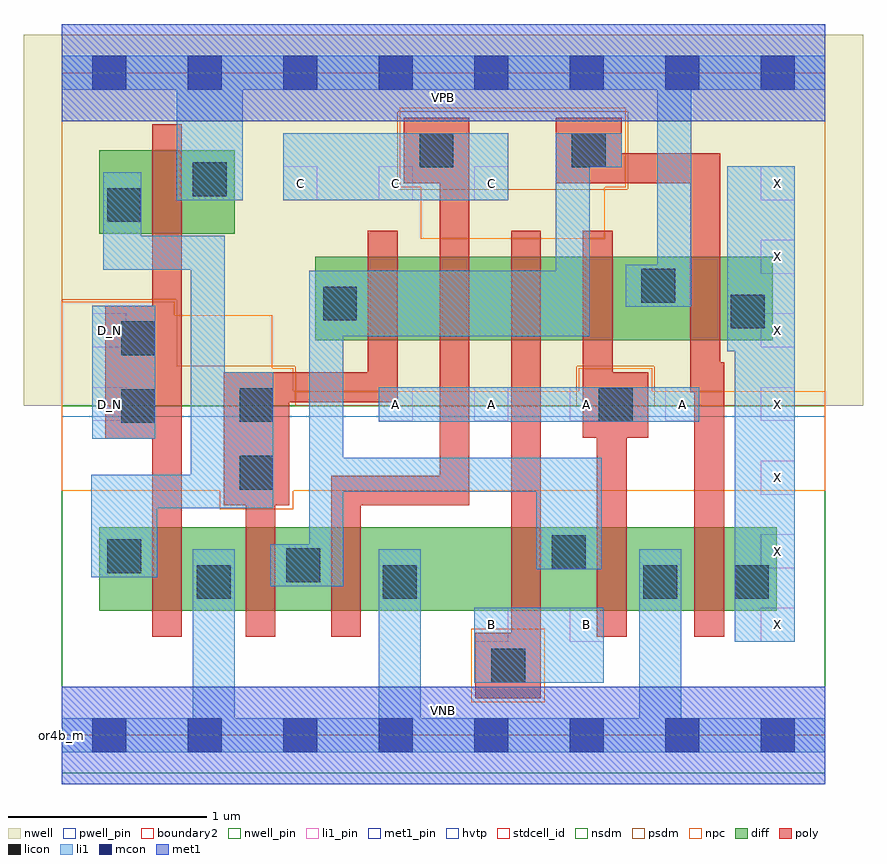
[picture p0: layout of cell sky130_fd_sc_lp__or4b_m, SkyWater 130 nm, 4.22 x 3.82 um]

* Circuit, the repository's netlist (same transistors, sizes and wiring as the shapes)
* Copyright 2020 The SkyWater PDK Authors
*
* Licensed under the Apache License, Version 2.0 (the "License");
* you may not use this file except in compliance with the License.
* You may obtain a copy of the License at
*
*     https://www.apache.org/licenses/LICENSE-2.0
*
* Unless required by applicable law or agreed to in writing, software
* distributed under the License is distributed on an "AS IS" BASIS,
* WITHOUT WARRANTIES OR CONDITIONS OF ANY KIND, either express or implied.
* See the License for the specific language governing permissions and
* limitations under the License.
*
* SPDX-License-Identifier: Apache-2.0

.SUBCKT sky130_fd_sc_lp__or4b_m A B C D_N VGND VNB VPB VPWR X
*.PININFO A:I B:I C:I D_N:I VGND:I VNB:I VPB:I VPWR:I X:O
MMP0 VPWR A sndPA VPB sky130_fd_pr__pfet_01v8_hvt m=1 w=0.42U l=0.15U mult=1 sa=0.265
+ sb=0.265 sd=0.28 area=0.063 perim=1.14
MMP1 sndPA B sndPB VPB sky130_fd_pr__pfet_01v8_hvt m=1 w=0.42U l=0.15U mult=1 sa=0.265
+ sb=0.265 sd=0.28 area=0.063 perim=1.14
MMP2 sndPB C sndPC VPB sky130_fd_pr__pfet_01v8_hvt m=1 w=0.42U l=0.15U mult=1 sa=0.265
+ sb=0.265 sd=0.28 area=0.063 perim=1.14
MMP3 sndPC D y VPB sky130_fd_pr__pfet_01v8_hvt m=1 w=0.42U l=0.15U mult=1 sa=0.265
+ sb=0.265 sd=0.28 area=0.063 perim=1.14
MMIP3 D D_N VPWR VPB sky130_fd_pr__pfet_01v8_hvt m=1 w=0.42U l=0.15U mult=1 sa=0.265
+ sb=0.265 sd=0.28 area=0.063 perim=1.14
MMIP4 X y VPWR VPB sky130_fd_pr__pfet_01v8_hvt m=1 w=0.42U l=0.15U mult=1 sa=0.265
+ sb=0.265 sd=0.28 area=0.063 perim=1.14
MMN0 y A VGND VNB sky130_fd_pr__nfet_01v8 m=1 w=0.42U l=0.15U mult=1 sa=0.265 sb=0.265
+ sd=0.28 area=0.063 perim=1.14
MMN1 y B VGND VNB sky130_fd_pr__nfet_01v8 m=1 w=0.42U l=0.15U mult=1 sa=0.265 sb=0.265
+ sd=0.28 area=0.063 perim=1.14
MMN2 y C VGND VNB sky130_fd_pr__nfet_01v8 m=1 w=0.42U l=0.15U mult=1 sa=0.265 sb=0.265
+ sd=0.28 area=0.063 perim=1.14
MMN3 y D VGND VNB sky130_fd_pr__nfet_01v8 m=1 w=0.42U l=0.15U mult=1 sa=0.265 sb=0.265
+ sd=0.28 area=0.063 perim=1.14
MMIN3 D D_N VGND VNB sky130_fd_pr__nfet_01v8 m=1 w=0.42U l=0.15U mult=1 sa=0.265
+ sb=0.265 sd=0.28 area=0.063 perim=1.14
MMIN4 X y VGND VNB sky130_fd_pr__nfet_01v8 m=1 w=0.42U l=0.15U mult=1 sa=0.265
+ sb=0.265 sd=0.28 area=0.063 perim=1.14
.ENDS sky130_fd_sc_lp__or4b_m

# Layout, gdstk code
import gdstk
lib = gdstk.Library(unit=1e-6, precision=1e-09)
def R(c, l, rs):  # rectangles x0, y0, x1, y1
    for r in rs: c.add(gdstk.rectangle(r[:2], r[2:], *l))
def A(c, l, x, y, w, h, nx, ny, dx, dy):  # array of equal rectangles
    R(c, l, [(x+i*dx, y+j*dy, x+i*dx+w, y+j*dy+h) for i in range(nx) for j in range(ny)])
def P(c, l, *ps):  # polygons
    for p in ps: c.add(gdstk.Polygon(p, *l))
nwell_pin = (64, 16)
nwell = (64, 20)
diff = (65, 20)
poly = (66, 20)
licon = (66, 44)
li1_pin = (67, 16)
li1 = (67, 20)
mcon = (67, 44)
met1_pin = (68, 16)
met1 = (68, 20)
hvtp = (78, 44)
stdcell_id = (81, 4)
nsdm = (93, 44)
psdm = (94, 20)
npc = (95, 20)
pwell_pin = (122, 16)
boundary2 = (236, 0)

sky130_fd_sc_lp__or4b_m = lib.new_cell('sky130_fd_sc_lp__or4b_m')
R(sky130_fd_sc_lp__or4b_m, nwell_pin, [(0,3.085,3.84,3.33)])
R(sky130_fd_sc_lp__or4b_m, nwell, [(-0.19,1.655,4.03,3.52)])
R(sky130_fd_sc_lp__or4b_m, diff, [(0.19,0.625,3.595,1.045), (1.275,1.985,3.575,2.405), (0.19,2.52,0.87,2.94)])
P(sky130_fd_sc_lp__or4b_m, poly, [(0.605,3.07),(0.455,3.07),(0.455,2.16),(0.22,2.16),(0.22,1.49),(0.455,1.49),(0.455,0.495),(0.605,0.495)],
  [(1.69,2.535),(1.54,2.535),(1.54,1.825),(0.815,1.825),(0.815,1.155),(0.925,1.155),(0.925,0.495),(1.075,0.495),(1.075,1.155),(1.145,1.155),(1.145,1.675),(1.69,1.675)],
  [(2.05,3.105),(1.72,3.105),(1.72,2.775),(1.9,2.775),(1.9,1.305),(1.355,1.305),(1.355,0.495),(1.505,0.495),(1.505,1.155),(2.05,1.155)],
  [(2.41,2.535),(2.26,2.535),(2.26,0.515),(2.08,0.515),(2.08,0.185),(2.41,0.185)],
  [(2.95,1.825),(2.77,1.825),(2.77,2.535),(2.62,2.535),(2.62,1.495),(2.69,1.495),(2.69,0.495),(2.84,0.495),(2.84,1.495),(2.95,1.495)],
  [(3.33,1.875),(3.31,1.875),(3.31,2.925),(2.815,2.925),(2.815,3.105),(2.485,3.105),(2.485,2.775),(3.16,2.775),(3.16,1.725),(3.18,1.725),(3.18,0.495),(3.33,0.495)])
R(sky130_fd_sc_lp__or4b_m, licon, [(2.16,0.265,2.33,0.435), (0.68,0.685,0.85,0.855), (1.615,0.685,1.785,0.855), (2.925,0.685,3.095,0.855), (3.385,0.685,3.555,0.855), (1.13,0.77,1.3,0.94), (0.23,0.815,0.4,0.985), (2.465,0.835,2.635,1.005), (0.895,1.235,1.065,1.405), (0.3,1.57,0.47,1.74), (0.895,1.575,1.065,1.745), (2.7,1.575,2.87,1.745), (0.3,1.91,0.47,2.08), (3.365,2.045,3.535,2.215), (1.315,2.085,1.485,2.255), (2.915,2.175,3.085,2.345), (0.23,2.58,0.4,2.75), (0.66,2.71,0.83,2.88), (1.8,2.855,1.97,3.025), (2.565,2.855,2.735,3.025)])
A(sky130_fd_sc_lp__or4b_m, li1_pin, 3.515, 0.47, 0.17, 0.17, 1, 3, 0, 0.37)
A(sky130_fd_sc_lp__or4b_m, li1_pin, 1.595, 1.58, 0.17, 0.17, 5, 1, 0.48, 0)
A(sky130_fd_sc_lp__or4b_m, li1_pin, 3.515, 1.95, 0.17, 0.17, 1, 3, 0, 0.37)
A(sky130_fd_sc_lp__or4b_m, li1_pin, 1.115, 2.69, 0.17, 0.17, 3, 1, 0.48, 0)
R(sky130_fd_sc_lp__or4b_m, li1_pin, [(2.075,0.47,2.245,0.64), (2.555,0.47,2.725,0.64), (0.155,1.58,0.325,1.75), (0.155,1.95,0.325,2.12)])
R(sky130_fd_sc_lp__or4b_m, li1, [(2.075,0.265,2.725,0.64), (0.155,1.49,0.47,2.16), (1.595,1.575,3.205,1.75), (1.115,2.69,2.245,3.025)])
P(sky130_fd_sc_lp__or4b_m, li1, [(0.58,2.69),(0.58,3.245),(0,3.245),(0,3.415),(3.84,3.415),(3.84,3.245),(3.165,3.245),(3.165,2.155),(2.835,2.155),(2.835,2.365),(2.995,2.365),(2.995,3.245),(0.91,3.245),(0.91,2.69)],
  [(0.66,0.085),(0.66,0.935),(0.87,0.935),(0.87,0.085),(1.595,0.085),(1.595,0.935),(1.805,0.935),(1.805,0.085),(2.905,0.085),(2.905,0.935),(3.115,0.935),(3.115,0.085),(3.84,0.085),(3.84,-0.085),(0,-0.085),(0,0.085)],
  [(1.245,2.335),(2.485,2.335),(2.485,3.025),(2.815,3.025),(2.815,2.855),(2.655,2.855),(2.655,2.005),(1.415,2.005),(1.415,1.395),(2.715,1.395),(2.715,0.835),(2.385,0.835),(2.385,1.225),(1.415,1.225),(1.415,0.75),(1.05,0.75),(1.05,0.96),(1.245,0.96)],
  [(3.345,1.93),(3.345,2.86),(3.685,2.86),(3.685,0.47),(3.385,0.47),(3.385,1.93)],
  [(0.4,2.51),(0.82,2.51),(0.82,1.825),(1.065,1.825),(1.065,1.14),(0.48,1.14),(0.48,0.795),(0.15,0.795),(0.15,1.31),(0.65,1.31),(0.65,2.34),(0.21,2.34),(0.21,2.83),(0.4,2.83)])
A(sky130_fd_sc_lp__or4b_m, mcon, 0.155, -0.085, 0.17, 0.17, 8, 2, 0.48, 3.33)
R(sky130_fd_sc_lp__or4b_m, met1_pin, [(0,0,3.84,0.245), (0,3.085,3.84,3.33)])
R(sky130_fd_sc_lp__or4b_m, met1, [(0,-0.245,3.84,0.245), (0,3.085,3.84,3.575)])
R(sky130_fd_sc_lp__or4b_m, hvtp, [(0,1.6,3.84,3.33)])
R(sky130_fd_sc_lp__or4b_m, stdcell_id, [(0,0,3.84,3.33)])
R(sky130_fd_sc_lp__or4b_m, nsdm, [(0,-0.19,3.84,1.655)])
P(sky130_fd_sc_lp__or4b_m, psdm, [(3.84,3.52),(2.845,3.52),(2.845,2.745),(1.69,2.745),(1.69,3.135),(2.845,3.135),(2.845,3.52),(0,3.52),(0,2.19),(0.58,2.19),(0.58,1.855),(1.175,1.855),(1.175,1.655),(2.59,1.655),(2.59,1.855),(2.98,1.855),(2.98,1.655),(3.84,1.655)])
R(sky130_fd_sc_lp__or4b_m, npc, [(2.06,0.165,2.43,0.535)])
P(sky130_fd_sc_lp__or4b_m, npc, [(2.835,3.155),(1.7,3.155),(1.7,2.755),(1.805,2.755),(1.805,2.495),(2.73,2.495),(2.73,2.755),(2.835,2.755)],
  [(3.84,1.73),(2.97,1.73),(2.97,1.845),(2.6,1.845),(2.6,1.73),(1.165,1.73),(1.165,1.845),(1.06,1.845),(1.06,2.11),(0.57,2.11),(0.57,2.18),(0,2.18),(0,1.23),(0.795,1.23),(0.795,1.135),(1.165,1.135),(1.165,1.23),(3.84,1.23)])
R(sky130_fd_sc_lp__or4b_m, pwell_pin, [(0,0,3.84,0.245)])
R(sky130_fd_sc_lp__or4b_m, boundary2, [(0,0,3.84,3.33)])
sky130_fd_sc_lp__or4b_m.add(gdstk.Label('VNB', (1.92,0.123), layer=64, texttype=59))
sky130_fd_sc_lp__or4b_m.add(gdstk.Label('VPB', (1.92,3.208), layer=64, texttype=5))
sky130_fd_sc_lp__or4b_m.add(gdstk.Label('or4b_m', (0,0), layer=83, texttype=44))
sky130_fd_sc_lp__or4b_m.add(gdstk.Label('VPWR', (1.92,3.208), layer=68, texttype=5))
sky130_fd_sc_lp__or4b_m.add(gdstk.Label('VGND', (1.92,0.123), layer=68, texttype=5))
sky130_fd_sc_lp__or4b_m.add(gdstk.Label('C', (1.2,2.775), layer=67, texttype=5))
sky130_fd_sc_lp__or4b_m.add(gdstk.Label('C', (1.68,2.775), layer=67, texttype=5))
sky130_fd_sc_lp__or4b_m.add(gdstk.Label('C', (2.16,2.775), layer=67, texttype=5))
sky130_fd_sc_lp__or4b_m.add(gdstk.Label('X', (3.6,0.555), layer=67, texttype=5))
sky130_fd_sc_lp__or4b_m.add(gdstk.Label('X', (3.6,0.925), layer=67, texttype=5))
sky130_fd_sc_lp__or4b_m.add(gdstk.Label('X', (3.6,1.295), layer=67, texttype=5))
sky130_fd_sc_lp__or4b_m.add(gdstk.Label('X', (3.6,1.665), layer=67, texttype=5))
sky130_fd_sc_lp__or4b_m.add(gdstk.Label('X', (3.6,2.035), layer=67, texttype=5))
sky130_fd_sc_lp__or4b_m.add(gdstk.Label('X', (3.6,2.405), layer=67, texttype=5))
sky130_fd_sc_lp__or4b_m.add(gdstk.Label('X', (3.6,2.775), layer=67, texttype=5))
sky130_fd_sc_lp__or4b_m.add(gdstk.Label('A', (1.68,1.665), layer=67, texttype=5))
sky130_fd_sc_lp__or4b_m.add(gdstk.Label('A', (2.16,1.665), layer=67, texttype=5))
sky130_fd_sc_lp__or4b_m.add(gdstk.Label('A', (2.64,1.665), layer=67, texttype=5))
sky130_fd_sc_lp__or4b_m.add(gdstk.Label('A', (3.12,1.665), layer=67, texttype=5))
sky130_fd_sc_lp__or4b_m.add(gdstk.Label('B', (2.16,0.555), layer=67, texttype=5))
sky130_fd_sc_lp__or4b_m.add(gdstk.Label('B', (2.64,0.555), layer=67, texttype=5))
sky130_fd_sc_lp__or4b_m.add(gdstk.Label('D_N', (0.24,1.665), layer=67, texttype=5))
sky130_fd_sc_lp__or4b_m.add(gdstk.Label('D_N', (0.24,2.035), layer=67, texttype=5))

lib.write_gds('sky130_fd_sc_lp__or4b_m.gds')
